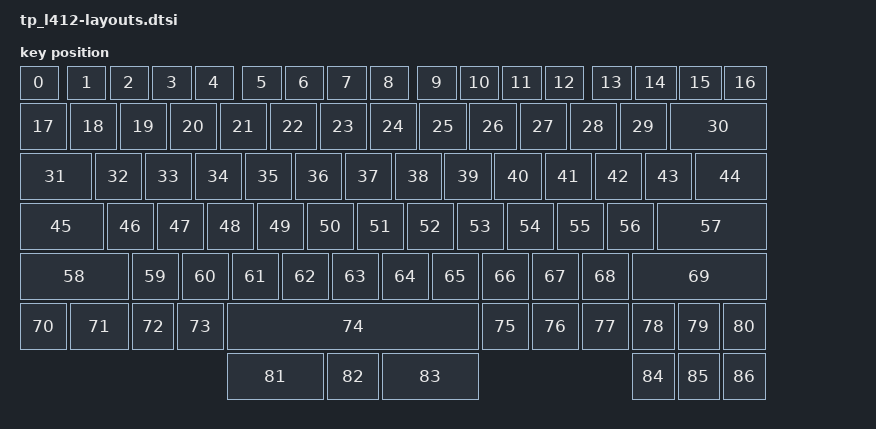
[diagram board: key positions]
#include <dt-bindings/zmk/matrix_transform.h>
#include <physical_layouts.dtsi>

/ {
    tp_l412_layout: tp_l412_layout {
        compatible = "zmk,physical-layout";
        display-name = "Default Layout";
        transform = <&default_transform>;

        keys  //                     w   h    x    y     rot    rx    ry
            = <&key_physical_attrs  85  75    0    0       0     0     0>
            , <&key_physical_attrs  85  75   95    0       0     0     0>
            , <&key_physical_attrs  85  75  180    0       0     0     0>
            , <&key_physical_attrs  85  75  265    0       0     0     0>
            , <&key_physical_attrs  85  75  350    0       0     0     0>
            , <&key_physical_attrs  85  75  445    0       0     0     0>
            , <&key_physical_attrs  85  75  530    0       0     0     0>
            , <&key_physical_attrs  85  75  615    0       0     0     0>
            , <&key_physical_attrs  85  75  700    0       0     0     0>
            , <&key_physical_attrs  85  75  795    0       0     0     0>
            , <&key_physical_attrs  85  75  880    0       0     0     0>
            , <&key_physical_attrs  85  75  965    0       0     0     0>
            , <&key_physical_attrs  85  75 1050    0       0     0     0>
            , <&key_physical_attrs  85  75 1145    0       0     0     0>
            , <&key_physical_attrs  90  75 1230    0       0     0     0>
            , <&key_physical_attrs  90  75 1320    0       0     0     0>
            , <&key_physical_attrs  90  75 1410    0       0     0     0>
            , <&key_physical_attrs 100 100    0   75       0     0     0>
            , <&key_physical_attrs 100 100  100   75       0     0     0>
            , <&key_physical_attrs 100 100  200   75       0     0     0>
            , <&key_physical_attrs 100 100  300   75       0     0     0>
            , <&key_physical_attrs 100 100  400   75       0     0     0>
            , <&key_physical_attrs 100 100  500   75       0     0     0>
            , <&key_physical_attrs 100 100  600   75       0     0     0>
            , <&key_physical_attrs 100 100  700   75       0     0     0>
            , <&key_physical_attrs 100 100  800   75       0     0     0>
            , <&key_physical_attrs 100 100  900   75       0     0     0>
            , <&key_physical_attrs 100 100 1000   75       0     0     0>
            , <&key_physical_attrs 100 100 1100   75       0     0     0>
            , <&key_physical_attrs 100 100 1200   75       0     0     0>
            , <&key_physical_attrs 200 100 1300   75       0     0     0>
            , <&key_physical_attrs 150 100    0  175       0     0     0>
            , <&key_physical_attrs 100 100  150  175       0     0     0>
            , <&key_physical_attrs 100 100  250  175       0     0     0>
            , <&key_physical_attrs 100 100  350  175       0     0     0>
            , <&key_physical_attrs 100 100  450  175       0     0     0>
            , <&key_physical_attrs 100 100  550  175       0     0     0>
            , <&key_physical_attrs 100 100  650  175       0     0     0>
            , <&key_physical_attrs 100 100  750  175       0     0     0>
            , <&key_physical_attrs 100 100  850  175       0     0     0>
            , <&key_physical_attrs 100 100  950  175       0     0     0>
            , <&key_physical_attrs 100 100 1050  175       0     0     0>
            , <&key_physical_attrs 100 100 1150  175       0     0     0>
            , <&key_physical_attrs 100 100 1250  175       0     0     0>
            , <&key_physical_attrs 150 100 1350  175       0     0     0>
            , <&key_physical_attrs 175 100    0  275       0     0     0>
            , <&key_physical_attrs 100 100  175  275       0     0     0>
            , <&key_physical_attrs 100 100  275  275       0     0     0>
            , <&key_physical_attrs 100 100  375  275       0     0     0>
            , <&key_physical_attrs 100 100  475  275       0     0     0>
            , <&key_physical_attrs 100 100  575  275       0     0     0>
            , <&key_physical_attrs 100 100  675  275       0     0     0>
            , <&key_physical_attrs 100 100  775  275       0     0     0>
            , <&key_physical_attrs 100 100  875  275       0     0     0>
            , <&key_physical_attrs 100 100  975  275       0     0     0>
            , <&key_physical_attrs 100 100 1075  275       0     0     0>
            , <&key_physical_attrs 100 100 1175  275       0     0     0>
            , <&key_physical_attrs 225 100 1275  275       0     0     0>
            , <&key_physical_attrs 225 100    0  375       0     0     0>
            , <&key_physical_attrs 100 100  225  375       0     0     0>
            , <&key_physical_attrs 100 100  325  375       0     0     0>
            , <&key_physical_attrs 100 100  425  375       0     0     0>
            , <&key_physical_attrs 100 100  525  375       0     0     0>
            , <&key_physical_attrs 100 100  625  375       0     0     0>
            , <&key_physical_attrs 100 100  725  375       0     0     0>
            , <&key_physical_attrs 100 100  825  375       0     0     0>
            , <&key_physical_attrs 100 100  925  375       0     0     0>
            , <&key_physical_attrs 100 100 1025  375       0     0     0>
            , <&key_physical_attrs 100 100 1125  375       0     0     0>
            , <&key_physical_attrs 275 100 1225  375       0     0     0>
            , <&key_physical_attrs 100 100    0  475       0     0     0>
            , <&key_physical_attrs 125 100  100  475       0     0     0>
            , <&key_physical_attrs  90 100  225  475       0     0     0>
            , <&key_physical_attrs 100 100  315  475       0     0     0>
            , <&key_physical_attrs 510 100  415  475       0     0     0>
            , <&key_physical_attrs 100 100  925  475       0     0     0>
            , <&key_physical_attrs 100 100 1025  475       0     0     0>
            , <&key_physical_attrs 100 100 1125  475       0     0     0>
            , <&key_physical_attrs  91 100 1225  475       0     0     0>
            , <&key_physical_attrs  91 100 1316  475       0     0     0>
            , <&key_physical_attrs  91 100 1407  475       0     0     0>
            , <&key_physical_attrs 200 100  415  575       0     0     0>
            , <&key_physical_attrs 110 100  615  575       0     0     0>
            , <&key_physical_attrs 200 100  725  575       0     0     0>
            , <&key_physical_attrs  91 100 1225  575       0     0     0>
            , <&key_physical_attrs  91 100 1316  575       0     0     0>
            , <&key_physical_attrs  91 100 1407  575       0     0     0>
            ;
    };

    position_map {
        compatible = "zmk,physical-layout-position-map";

        tp_l412_layout {
            physical-layout = <&tp_l412_layout>;
            positions = <>;
        };
    };
};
